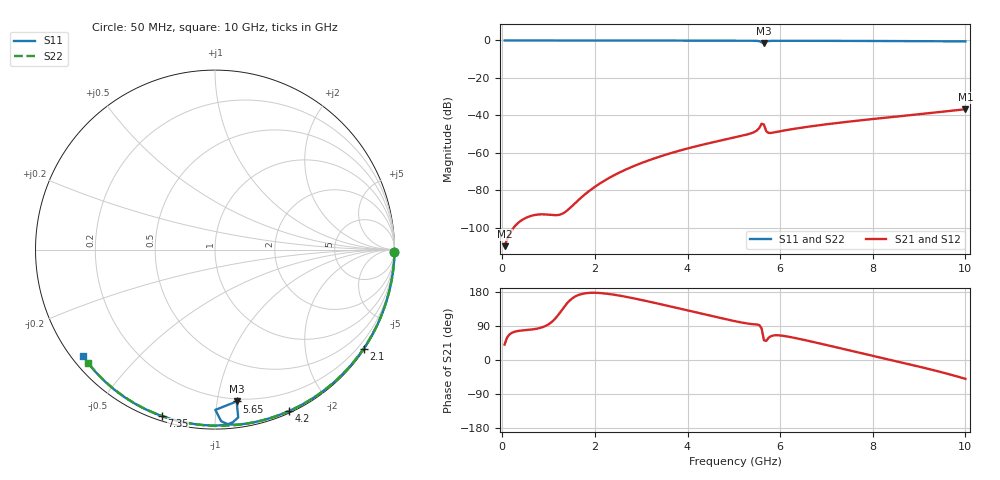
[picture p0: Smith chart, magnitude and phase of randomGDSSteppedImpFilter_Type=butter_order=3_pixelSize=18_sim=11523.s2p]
! freq	dB(S11)	phase(S11)	dB(S12)	phase(S12)
!  dB(S21)	phase(S21)	dB(S22)	phase(S22)
!S-par simulation data
#  GHz  S  DB  R 50
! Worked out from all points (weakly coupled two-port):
!   200 points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, 50 MHz to 10 GHz, reference 50 ohm
!   highest |S21| = -36.76 dB at 10 GHz (marker M1); lowest = -110.0 dB at 50 MHz (marker M2)
!   lowest |S11| = -1.4 dB at 5.65 GHz (marker M3), VSWR 12.74, Z = 9.07 - j56.8 ohm
!   |S11| at or under -10 dB: nowhere
!   |S22| runs from -0.5 to 0.0 dB; largest |S21 - S12| = 0
!   S11 on the Smith chart (normalised r, x): 50 MHz: open; 2.1 GHz: 0.03, -3.30; 4.2 GHz: 0.02, -1.55; 5.65 GHz: 0.18, -1.14; 7.35 GHz: 0.02, -0.73; 10 GHz: 0.03, -0.35
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0.05  -0.00 -0.8  -109.97 40.7  -109.97 40.7  -0.00 -0.8
0.9  -0.02 -14.6  -92.96 88.0  -92.96 88.0  -0.02 -14.3
1.75  -0.04 -28.2  -83.00 175.2  -83.00 175.2  -0.04 -27.6
1.9  -0.04 -30.6  -80.02 177.3  -80.02 177.3  -0.04 -29.9
2.1  -0.04 -33.7  -76.57 176.9  -76.57 176.9  -0.04 -33.0
2.35  -0.05 -37.6  -72.90 173.4  -72.90 173.4  -0.05 -36.8
2.65  -0.05 -42.2  -69.20 167.2  -69.20 167.2  -0.05 -41.3
3  -0.06 -47.6  -65.57 158.6  -65.57 158.6  -0.06 -46.6
3.4  -0.07 -53.6  -62.08 147.8  -62.08 147.8  -0.07 -52.5
4.2  -0.09 -65.5  -56.48 125.1  -56.48 125.1  -0.09 -64.0
5.05  -0.12 -77.9  -51.68 101.8  -51.68 101.8  -0.12 -75.9
5.45  -0.19 -84.8  -48.85 94.0  -48.85 94.0  -0.13 -81.3
5.55  -0.38 -87.9  -46.80 92.3  -46.80 92.3  -0.14 -82.7
5.6  -0.98 -89.9  -44.53 83.2  -44.53 83.2  -0.14 -83.3
5.65  -1.37 -81.9  -44.94 51.9  -44.94 51.9  -0.14 -84.0
5.7  -0.50 -82.1  -48.54 50.5  -48.54 50.5  -0.14 -84.7
5.75  -0.29 -84.1  -49.44 58.5  -49.44 58.5  -0.14 -85.3
6.05  -0.17 -90.1  -48.29 64.0  -48.29 64.0  -0.16 -89.3
6.7  -0.20 -99.2  -45.79 48.0  -45.79 48.0  -0.19 -97.7
7.35  -0.23 -107.7  -43.77 29.6  -43.77 29.6  -0.23 -106.0
8.35  -0.31 -120.4  -41.10 1.2  -41.10 1.2  -0.30 -118.3
10  -0.50 -141.1  -36.76 -49.7  -36.76 -49.7  -0.47 -138.3
